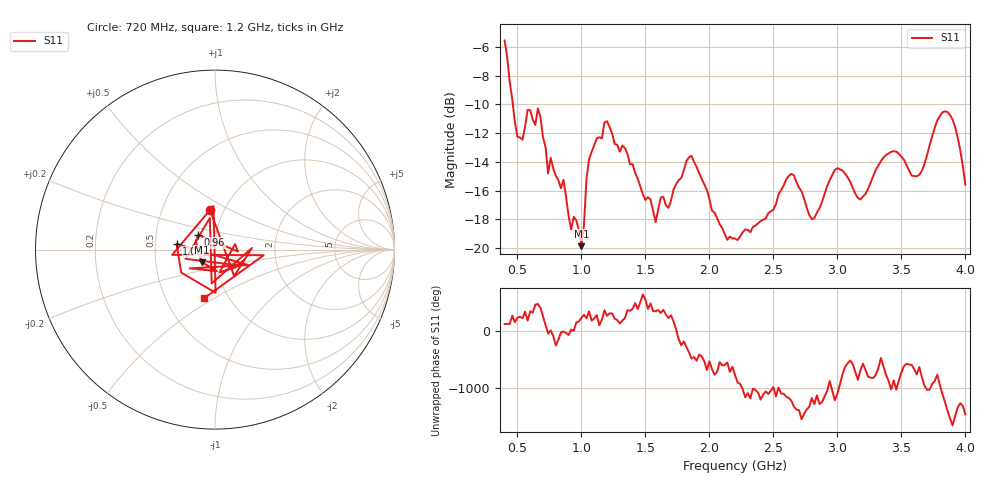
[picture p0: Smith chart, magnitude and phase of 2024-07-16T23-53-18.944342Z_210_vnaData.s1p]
!Created with skrf (http://scikit-rf.org).
# Hz S RI R 50.0
!freq ReS11 ImS11
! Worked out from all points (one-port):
!   181 points, 400 MHz to 4 GHz, reference 50 ohm
!   lowest |S11| = -19.9 dB at 1 GHz (marker M1), VSWR 1.23, Z = 42.7 - j5.94 ohm
!   |S11| at or under -10 dB: 464.4 MHz to end of sweep
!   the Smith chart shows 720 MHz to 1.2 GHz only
!   S11 on the Smith chart (normalised r, x): 720 MHz: 0.86, +0.40; 960 MHz: 0.82, +0.14; 1.08 GHz: 0.65, +0.04; 1.2 GHz: 0.77, -0.45
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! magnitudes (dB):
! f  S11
! 400 MHz  -5.6
! 500 MHz  -12.2
! 660 MHz  -10.3
! 720 MHz  -13.0
! 740 MHz  -14.8
! 760 MHz  -13.7
! 860 MHz  -15.3
! 920 MHz  -18.7
! 960 MHz  -18.1
! 1 GHz  -19.9
! 1.04 GHz  -15.1
! 1.08 GHz  -13.3
! 1.2 GHz  -11.2
! 1.3 GHz  -13.3
! 1.58 GHz  -18.2
! 1.76 GHz  -15.3
! 1.86 GHz  -13.6
! 2.2 GHz  -19.3
! 2.66 GHz  -14.9
! 2.8 GHz  -18.0
! 2.98 GHz  -14.6
! 3.1 GHz  -15.4
! 3.18 GHz  -16.6
! 3.44 GHz  -13.3
! 3.56 GHz  -14.6
! 3.64 GHz  -14.9
! 3.86 GHz  -10.5
! 4 GHz  -15.6
